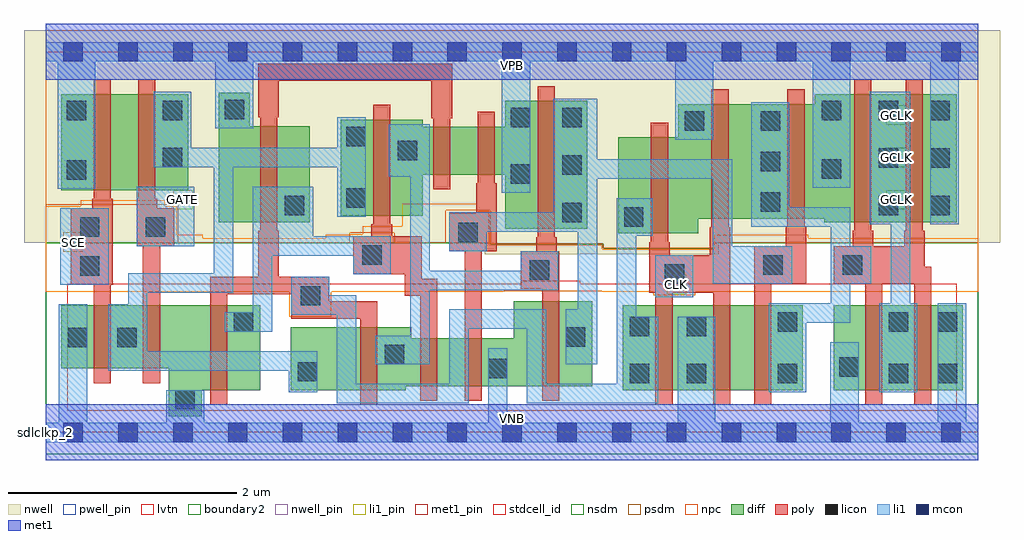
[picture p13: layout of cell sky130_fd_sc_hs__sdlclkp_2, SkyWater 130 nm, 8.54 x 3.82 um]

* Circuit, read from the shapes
.subckt sky130_fd_sc_hs__sdlclkp_2 CLK GATE GCLK SCE VGND VNB VPB VPWR
XM1 n1 SCE VGND VNB sky130_fd_pr__nfet_01v8_lvt w=0.55 l=0.15
XM2 VGND GATE n1 VNB sky130_fd_pr__nfet_01v8_lvt w=0.55 l=0.15
XM3 n2 n3 VGND VNB sky130_fd_pr__nfet_01v8_lvt w=0.74 l=0.15
XM4 n4 n3 n1 VNB sky130_fd_pr__nfet_01v8_lvt w=0.55 l=0.15
XM5 n5 n2 n4 VNB sky130_fd_pr__nfet_01v8_lvt w=0.42 l=0.15
XM6 VGND n6 n5 VNB sky130_fd_pr__nfet_01v8_lvt w=0.42 l=0.15
XM7 n6 n4 VGND VNB sky130_fd_pr__nfet_01v8_lvt w=0.74 l=0.15
XM8 VGND CLK n3 VNB sky130_fd_pr__nfet_01v8_lvt w=0.74 l=0.15
XM9 n7 CLK VGND VNB sky130_fd_pr__nfet_01v8_lvt w=0.74 l=0.15
XM10 n8 n6 n7 VNB sky130_fd_pr__nfet_01v8_lvt w=0.74 l=0.15
XM11 GCLK n8 VGND VNB sky130_fd_pr__nfet_01v8_lvt w=0.74 l=0.15 m=2
XM12 n9 SCE VPWR VPB sky130_fd_pr__pfet_01v8 w=0.84 l=0.15
XM13 n1 GATE n9 VPB sky130_fd_pr__pfet_01v8 w=0.84 l=0.15
XM14 n2 n3 VPWR VPB sky130_fd_pr__pfet_01v8 w=0.84 l=0.15
XM15 n4 n2 n1 VPB sky130_fd_pr__pfet_01v8 w=0.84 l=0.15
XM16 n10 n3 n4 VPB sky130_fd_pr__pfet_01v8 w=0.42 l=0.15
XM17 VPWR n6 n10 VPB sky130_fd_pr__pfet_01v8 w=0.42 l=0.15
XM18 n6 n4 VPWR VPB sky130_fd_pr__pfet_01v8 w=1.12 l=0.15
XM19 VPWR CLK n3 VPB sky130_fd_pr__pfet_01v8 w=0.84 l=0.15
XM20 n8 CLK VPWR VPB sky130_fd_pr__pfet_01v8 w=1 l=0.15
XM21 VPWR n6 n8 VPB sky130_fd_pr__pfet_01v8 w=1 l=0.15
XM22 GCLK n8 VPWR VPB sky130_fd_pr__pfet_01v8 w=1.12 l=0.15 m=2
.ends

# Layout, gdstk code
import gdstk
lib = gdstk.Library(unit=1e-6, precision=1e-09)
def R(c, l, rs):  # rectangles x0, y0, x1, y1
    for r in rs: c.add(gdstk.rectangle(r[:2], r[2:], *l))
def A(c, l, x, y, w, h, nx, ny, dx, dy):  # array of equal rectangles
    R(c, l, [(x+i*dx, y+j*dy, x+i*dx+w, y+j*dy+h) for i in range(nx) for j in range(ny)])
def P(c, l, *ps):  # polygons
    for p in ps: c.add(gdstk.Polygon(p, *l))
nwell_pin = (64, 16)
nwell = (64, 20)
diff = (65, 20)
poly = (66, 20)
licon = (66, 44)
li1_pin = (67, 16)
li1 = (67, 20)
mcon = (67, 44)
met1_pin = (68, 16)
met1 = (68, 20)
stdcell_id = (81, 4)
nsdm = (93, 44)
psdm = (94, 20)
npc = (95, 20)
pwell_pin = (122, 16)
lvtn = (125, 44)
boundary2 = (236, 0)

sky130_fd_sc_hs__sdlclkp = lib.new_cell('sky130_fd_sc_hs__sdlclkp_2')
R(sky130_fd_sc_hs__sdlclkp, nwell_pin, [(0,3.085,8.16,3.33)])
P(sky130_fd_sc_hs__sdlclkp, nwell, [(8.35,3.52),(-0.19,3.52),(-0.19,1.66),(3.84,1.66),(3.84,1.56),(5.89,1.56),(5.89,1.66),(8.35,1.66)])
R(sky130_fd_sc_hs__sdlclkp, diff, [(5.05,0.37,6.625,1.11), (6.895,0.37,8.025,1.11), (0.135,2.12,1.245,2.96)])
P(sky130_fd_sc_hs__sdlclkp, diff, [(1.875,1.11),(0.135,1.11),(0.135,0.56),(1.075,0.56),(1.075,0.14),(1.365,0.14),(1.365,0.37),(1.875,0.37)],
  [(2.31,2.68),(1.785,2.68),(1.785,2.97),(1.515,2.97),(1.515,1.84),(2.31,1.84)],
  [(4.74,2.9),(4.02,2.9),(4.02,2.675),(3.3,2.675),(3.3,2.735),(2.58,2.735),(2.58,1.895),(3.3,1.895),(3.3,2.255),(4.02,2.255),(4.02,1.78),(4.74,1.78)],
  [(4.78,1.145),(4.095,1.145),(4.095,0.825),(3.2,0.825),(3.2,0.92),(2.145,0.92),(2.145,0.37),(3.15,0.37),(3.15,0.405),(4.78,0.405)],
  [(7.97,2.96),(6.73,2.96),(6.73,2.87),(5.535,2.87),(5.535,2.58),(5.01,2.58),(5.01,1.74),(5.71,1.74),(5.71,1.87),(6.81,1.87),(6.81,1.84),(7.97,1.84)])
P(sky130_fd_sc_hs__sdlclkp, poly, [(7.75,1.45),(7.69,1.45),(7.69,1.765),(7.675,1.765),(7.675,3.09),(7.525,3.09),(7.525,1.765),(7.51,1.765),(7.51,1.63),(7.24,1.63),(7.24,1.765),(7.225,1.765),(7.225,3.09),(7.075,3.09),(7.075,1.765),(7.06,1.765),(7.06,1.63),(6.895,1.63),(6.895,1.3),(7.17,1.3),(7.17,0.24),(7.32,0.24),(7.32,1.3),(7.6,1.3),(7.6,0.24),(7.75,0.24)],
  [(6.655,1.795),(6.64,1.795),(6.64,3),(6.49,3),(6.49,1.795),(6.475,1.795),(6.475,1.63),(6.2,1.63),(6.2,0.24),(6.35,0.24),(6.35,1.3),(6.655,1.3)],
  [(5.99,1.795),(5.975,1.795),(5.975,3),(5.825,3),(5.825,1.795),(5.81,1.795),(5.81,1.55),(5.46,1.55),(5.46,1.665),(5.445,1.665),(5.445,2.71),(5.295,2.71),(5.295,1.665),(5.28,1.665),(5.28,1.22),(5.335,1.22),(5.335,0.24),(5.485,0.24),(5.485,1.22),(5.84,1.22),(5.84,0.24),(5.99,0.24)],
  [(4.495,1.585),(4.47,1.585),(4.47,1.705),(4.455,1.705),(4.455,3.03),(4.305,3.03),(4.305,1.705),(4.29,1.705),(4.29,1.585),(4.155,1.585),(4.155,1.255),(4.345,1.255),(4.345,0.275),(4.495,0.275)],
  [(3.945,2.18),(3.93,2.18),(3.93,2.805),(3.78,2.805),(3.78,2.18),(3.765,2.18),(3.765,1.915),(3.53,1.915),(3.53,1.585),(3.665,1.585),(3.665,0.275),(3.815,0.275),(3.815,1.585),(3.945,1.585)],
  [(3.555,3.225),(1.86,3.225),(1.86,2.755),(1.875,2.755),(1.875,1.765),(1.86,1.765),(1.86,1.36),(1.44,1.36),(1.44,0.24),(1.59,0.24),(1.59,1.21),(2.15,1.21),(2.15,0.995),(2.75,0.995),(2.75,0.24),(2.9,0.24),(2.9,1.145),(2.48,1.145),(2.48,1.36),(2.04,1.36),(2.04,1.765),(2.025,1.765),(2.025,2.755),(2.04,2.755),(2.04,3.075),(3.375,3.075),(3.375,2.75),(3.39,2.75),(3.39,2.125),(3.54,2.125),(3.54,2.75),(3.555,2.75)],
  [(3.425,1.345),(3.29,1.345),(3.29,1.715),(3.03,1.715),(3.03,1.82),(3.015,1.82),(3.015,2.865),(2.865,2.865),(2.865,1.82),(2.85,1.82),(2.85,1.715),(2.69,1.715),(2.69,1.385),(3.14,1.385),(3.14,1.195),(3.275,1.195),(3.275,0.275),(3.425,0.275)],
  [(1.125,1.96),(0.975,1.96),(0.975,2.045),(0.96,2.045),(0.96,3.09),(0.81,3.09),(0.81,2.045),(0.795,2.045),(0.795,1.63),(0.85,1.63),(0.85,0.43),(1,0.43),(1,1.63),(1.125,1.63)],
  [(0.585,2.045),(0.57,2.045),(0.57,3.09),(0.42,3.09),(0.42,2.045),(0.405,2.045),(0.405,1.96),(0.22,1.96),(0.22,1.29),(0.42,1.29),(0.42,0.43),(0.57,0.43),(0.57,1.29),(0.585,1.29)])
A(sky130_fd_sc_hs__sdlclkp, licon, 4.52, 1.84, 0.17, 0.17, 1, 3, 0, 0.415)
A(sky130_fd_sc_hs__sdlclkp, licon, 7.29, 1.9, 0.17, 0.17, 1, 3, 0, 0.415)
A(sky130_fd_sc_hs__sdlclkp, licon, 7.74, 1.9, 0.17, 0.17, 1, 3, 0, 0.415)
A(sky130_fd_sc_hs__sdlclkp, licon, 6.255, 1.93, 0.17, 0.17, 1, 3, 0, 0.355)
R(sky130_fd_sc_hs__sdlclkp, licon, [(1.135,0.2,1.305,0.37), (5.11,0.43,5.28,0.6), (5.61,0.43,5.78,0.6), (6.405,0.43,6.575,0.6), (7.375,0.43,7.545,0.6), (7.805,0.43,7.975,0.6), (2.205,0.445,2.375,0.615), (3.87,0.475,4.04,0.645), (6.945,0.485,7.115,0.655), (2.965,0.595,3.135,0.765), (0.195,0.745,0.365,0.915), (0.625,0.745,0.795,0.915), (4.55,0.75,4.72,0.92), (5.11,0.84,5.28,1.01), (5.61,0.84,5.78,1.01), (1.645,0.88,1.815,1.05), (6.405,0.88,6.575,1.05), (7.375,0.88,7.545,1.05), (7.805,0.88,7.975,1.05), (2.23,1.11,2.4,1.28), (5.415,1.3,5.585,1.47), (4.235,1.335,4.405,1.505), (0.3,1.37,0.47,1.54), (6.28,1.38,6.45,1.55), (6.975,1.38,7.145,1.55), (2.77,1.465,2.94,1.635), (3.61,1.665,3.78,1.835), (0.3,1.71,0.47,1.88), (0.875,1.71,1.045,1.88), (5.06,1.8,5.23,1.97), (2.09,1.9,2.26,2.07), (2.63,1.965,2.8,2.135), (4.07,2.175,4.24,2.345), (0.185,2.21,0.355,2.38), (6.79,2.22,6.96,2.39), (1.025,2.32,1.195,2.49), (3.08,2.38,3.25,2.55), (2.63,2.505,2.8,2.675), (5.59,2.64,5.76,2.81), (4.07,2.67,4.24,2.84), (0.185,2.73,0.355,2.9), (1.025,2.73,1.195,2.9), (6.79,2.73,6.96,2.9), (1.565,2.74,1.735,2.91)])
A(sky130_fd_sc_hs__sdlclkp, li1_pin, 7.355, 1.95, 0.17, 0.17, 1, 3, 0, 0.37)
R(sky130_fd_sc_hs__sdlclkp, li1_pin, [(5.435,1.21,5.605,1.38), (0.155,1.58,0.325,1.75), (1.115,1.95,1.285,2.12)])
R(sky130_fd_sc_hs__sdlclkp, li1, [(5.335,1.18,5.665,1.55), (0.125,1.29,0.55,1.96), (0.795,1.63,1.3,2.15)])
P(sky130_fd_sc_hs__sdlclkp, li1, [(0,-0.085),(0,0.085),(0.115,0.085),(0.115,1.12),(0.365,1.12),(0.365,0.085),(1.055,0.085),(1.055,0.37),(1.385,0.37),(1.385,0.085),(3.87,0.085),(3.87,0.735),(4.04,0.735),(4.04,0.085),(5.53,0.085),(5.53,1.01),(5.86,1.01),(5.86,0.085),(6.865,0.085),(6.865,0.79),(7.115,0.79),(7.115,0.085),(7.805,0.085),(7.805,1.13),(8.055,1.13),(8.055,0.085),(8.16,0.085),(8.16,-0.085)],
  [(0,3.245),(0,3.415),(8.16,3.415),(8.16,3.245),(7.99,3.245),(7.99,1.82),(7.74,1.82),(7.74,3.245),(7.04,3.245),(7.04,2.14),(6.71,2.14),(6.71,3.245),(5.84,3.245),(5.84,2.56),(5.51,2.56),(5.51,3.245),(4.24,3.245),(4.24,2.095),(3.99,2.095),(3.99,3.245),(1.815,3.245),(1.815,2.66),(1.485,2.66),(1.485,3.245),(0.435,3.245),(0.435,2.13),(0.105,2.13),(0.105,3.245)],
  [(7.21,1.82),(7.21,2.98),(7.565,2.98),(7.565,1.13),(7.625,1.13),(7.625,0.35),(7.295,0.35),(7.295,1.13),(7.395,1.13),(7.395,1.82)],
  [(7.04,0.96),(6.655,0.96),(6.655,0.35),(6.325,0.35),(6.325,1.13),(6.87,1.13),(6.87,1.8),(6.175,1.8),(6.175,2.89),(6.505,2.89),(6.505,1.97),(7.04,1.97),(7.04,1.63),(7.225,1.63),(7.225,1.3),(7.04,1.3)],
  [(4.995,2.05),(5.31,2.05),(5.31,1.72),(5.165,1.72),(5.165,1.01),(5.36,1.01),(5.36,0.255),(4.21,0.255),(4.21,0.905),(3.7,0.905),(3.7,0.255),(2.545,0.255),(2.545,1.03),(2.15,1.03),(2.15,1.36),(2.48,1.36),(2.48,1.2),(2.715,1.2),(2.715,0.425),(3.53,0.425),(3.53,1.075),(4.38,1.075),(4.38,0.425),(4.995,0.425)],
  [(0.545,0.54),(0.545,1.12),(0.72,1.12),(0.72,1.39),(1.47,1.39),(1.47,2.32),(0.945,2.32),(0.945,2.98),(1.275,2.98),(1.275,2.49),(2.55,2.49),(2.55,2.755),(2.8,2.755),(2.8,1.885),(2.55,1.885),(2.55,2.32),(1.64,2.32),(1.64,1.22),(0.89,1.22),(0.89,0.71),(2.375,0.71),(2.375,0.35),(2.125,0.35),(2.125,0.54)],
  [(3.36,1.415),(4.155,1.415),(4.155,1.585),(4.485,1.585),(4.485,1.245),(3.36,1.245),(3.36,0.595),(2.885,0.595),(2.885,0.845),(3.19,0.845),(3.19,2.235),(3,2.235),(3,2.695),(3.36,2.695)],
  [(4.44,1.925),(4.44,2.92),(4.825,2.92),(4.825,2.39),(6.005,2.39),(6.005,1.63),(6.53,1.63),(6.53,1.3),(5.835,1.3),(5.835,2.22),(4.825,2.22),(4.825,0.595),(4.55,0.595),(4.55,1.075),(4.655,1.075),(4.655,1.755),(3.86,1.755),(3.86,1.585),(3.53,1.585),(3.53,1.925)],
  [(1.81,2.15),(2.34,2.15),(2.34,1.715),(3.02,1.715),(3.02,1.385),(2.69,1.385),(2.69,1.545),(1.98,1.545),(1.98,0.88),(1.565,0.88),(1.565,1.05),(1.81,1.05)])
A(sky130_fd_sc_hs__sdlclkp, mcon, 0.155, -0.085, 0.17, 0.17, 17, 2, 0.48, 3.33)
R(sky130_fd_sc_hs__sdlclkp, met1_pin, [(0,0,8.16,0.245), (0,3.085,8.16,3.33)])
R(sky130_fd_sc_hs__sdlclkp, met1, [(0,-0.245,8.16,0.245), (0,3.085,8.16,3.575)])
R(sky130_fd_sc_hs__sdlclkp, stdcell_id, [(0,0,8.16,3.33)])
P(sky130_fd_sc_hs__sdlclkp, nsdm, [(8.16,1.66),(5.835,1.66),(5.835,1.61),(4.88,1.61),(4.88,1.65),(3.89,1.65),(3.89,1.66),(0,1.66),(0,-0.19),(8.16,-0.19)])
P(sky130_fd_sc_hs__sdlclkp, psdm, [(8.16,3.52),(0,3.52),(0,1.99),(1.155,1.99),(1.155,1.66),(2.66,1.66),(2.66,1.745),(3.05,1.745),(3.05,1.66),(3.5,1.66),(3.5,1.945),(3.89,1.945),(3.89,1.65),(4.88,1.65),(4.88,1.61),(5.84,1.61),(5.84,1.66),(8.16,1.66)])
P(sky130_fd_sc_hs__sdlclkp, npc, [(8.16,1.7),(6.67,1.7),(6.67,1.73),(5.85,1.73),(5.85,1.6),(4.87,1.6),(4.87,1.64),(3.88,1.64),(3.88,1.935),(3.775,1.935),(3.775,2),(3.12,2),(3.12,1.805),(2.775,1.805),(2.775,1.735),(2.67,1.735),(2.67,1.73),(2.45,1.73),(2.45,1.7),(1.375,1.7),(1.375,1.73),(1.145,1.73),(1.145,1.98),(1.04,1.98),(1.04,2.03),(0.305,2.03),(0.305,1.98),(0,1.98),(0,1.23),(2.13,1.23),(2.13,1.01),(2.5,1.01),(2.5,1.23),(4.005,1.23),(4.005,1.235),(4.87,1.235),(4.87,1.23),(5.315,1.23),(5.315,1.2),(5.685,1.2),(5.685,1.23),(8.16,1.23)])
R(sky130_fd_sc_hs__sdlclkp, pwell_pin, [(0,0,8.16,0.245)])
P(sky130_fd_sc_hs__sdlclkp, lvtn, [(7.97,1.3),(4.675,1.3),(4.675,1.325),(4.165,1.325),(4.165,1.3),(0.19,1.3),(0.19,0.19),(7.97,0.19)])
R(sky130_fd_sc_hs__sdlclkp, boundary2, [(0,0,8.16,3.33)])
sky130_fd_sc_hs__sdlclkp.add(gdstk.Label('sdlclkp_2', (0,0), layer=83, texttype=44))
sky130_fd_sc_hs__sdlclkp.add(gdstk.Label('VNB', (4.08,0.123), layer=64, texttype=59))
sky130_fd_sc_hs__sdlclkp.add(gdstk.Label('VPB', (4.08,3.208), layer=64, texttype=5))
sky130_fd_sc_hs__sdlclkp.add(gdstk.Label('VPWR', (4.08,3.208), layer=68, texttype=5))
sky130_fd_sc_hs__sdlclkp.add(gdstk.Label('VGND', (4.08,0.123), layer=68, texttype=5))
sky130_fd_sc_hs__sdlclkp.add(gdstk.Label('GCLK', (7.44,2.035), layer=67, texttype=5))
sky130_fd_sc_hs__sdlclkp.add(gdstk.Label('GCLK', (7.44,2.405), layer=67, texttype=5))
sky130_fd_sc_hs__sdlclkp.add(gdstk.Label('GCLK', (7.44,2.775), layer=67, texttype=5))
sky130_fd_sc_hs__sdlclkp.add(gdstk.Label('CLK', (5.52,1.295), layer=67, texttype=5))
sky130_fd_sc_hs__sdlclkp.add(gdstk.Label('GATE', (1.2,2.035), layer=67, texttype=5))
sky130_fd_sc_hs__sdlclkp.add(gdstk.Label('SCE', (0.24,1.665), layer=67, texttype=5))

lib.write_gds('sky130_fd_sc_hs__sdlclkp_2.gds')
